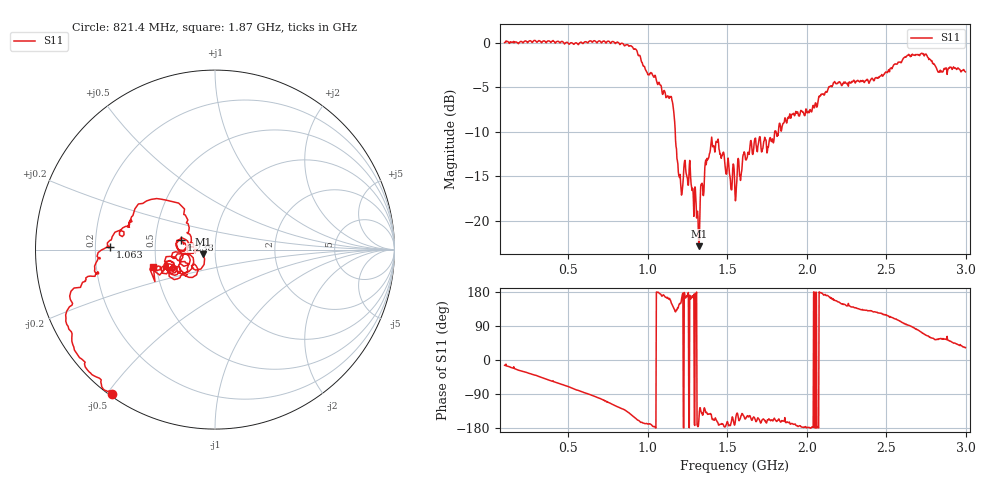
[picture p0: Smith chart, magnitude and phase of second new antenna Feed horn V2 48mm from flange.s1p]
# HZ S RI R 50
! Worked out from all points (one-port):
!   1009 points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, 100 MHz to 2.997 GHz, reference 50 ohm
!   lowest |S11| = -22.8 dB at 1.322 GHz (marker M1), VSWR 1.16, Z = 43.7 - j2.37 ohm
!   |S11| at or under -10 dB: 1.173 GHz to 1.798 GHz (625.3 MHz wide, 42.1 % of centre); 1.807 GHz to 1.821 GHz (14.6 MHz wide, 0.805 % of centre)
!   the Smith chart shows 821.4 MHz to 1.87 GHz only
!   S11 on the Smith chart (normalised r, x): 821.4 MHz: 0.01, -0.51; 1.063 GHz: 0.26, +0.01; 1.238 GHz: 0.68, +0.08; 1.87 GHz: 0.48, -0.10
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1e8  0.9749 -0.2418
2.95441e8  0.7823 -0.6638
4.621408e8  0.434 -0.9228
6.547077e8  -0.0763 -1.012
8.214074e8  -0.5762 -0.806
8.242815e8  -0.5742 -0.7934
9.22002e8  -0.8256 -0.4176
9.679882e8  -0.738 -0.1822
1.062835e9  -0.5835 0.0125
1.151933e9  -0.4024 0.2572
1.186422e9  -0.1593 0.1485
1.206541e9  -0.1399 0.0846
1.238157e9  -0.188 0.0559
1.321507e9  -0.0669 -0.027
1.401982e9  -0.2552 -0.1494
1.47671e9  -0.241 -0.0343
1.548563e9  -0.1392 -0.0283
1.640535e9  -0.2108 -0.1384
1.870466e9  -0.3475 -0.0946
1.910704e9  -0.3897 -0.0783
2.080278e9  -0.4988 0.02
2.272845e9  -0.467 0.3687
2.502775e9  -0.312 0.6088
2.634985e9  -0.0285 0.853
2.77007e9  0.3888 0.7127
2.81893e9  0.4054 0.5776
2.86779e9  0.4021 0.5869
2.997126e9  0.5805 0.3695
